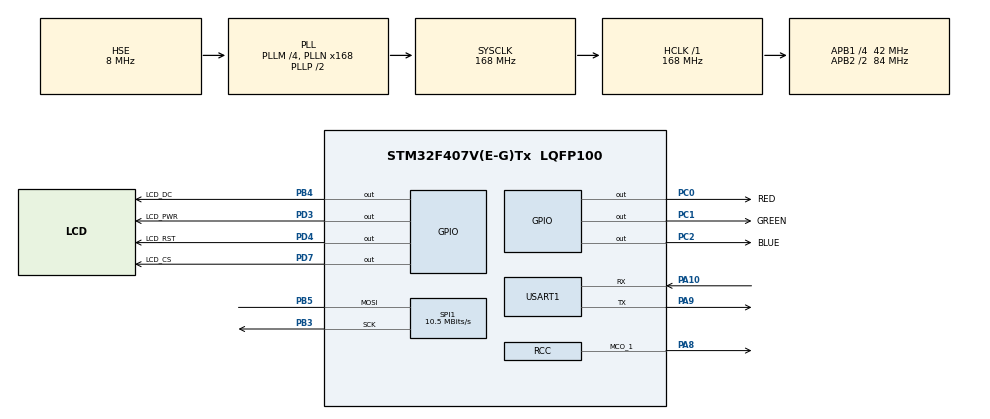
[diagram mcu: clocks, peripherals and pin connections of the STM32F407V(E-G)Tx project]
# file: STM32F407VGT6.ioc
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Mcu.Family=STM32F4
Mcu.Name=STM32F407V(E-G)Tx
Mcu.Package=LQFP100
NVIC.PriorityGroup=NVIC_PRIORITYGROUP_4
NVIC.USART1_IRQn=true\:0\:0\:false\:false\:true\:true\:true\:true
PA10.Mode=Asynchronous
PA10.Signal=USART1_RX
PA11.Signal=USB_OTG_FS_DM
PA12.Signal=USB_OTG_FS_DP
PA13.Mode=Serial_Wire
PA13.Signal=SYS_JTMS-SWDIO
PA14.Mode=Serial_Wire
PA14.Signal=SYS_JTCK-SWCLK
PA4.Signal=DCMI_HSYNC
PA6.Signal=DCMI_PIXCLK
PA8.Mode=Clock-out-1
PA8.Signal=RCC_MCO_1
PA9.Mode=Asynchronous
PA9.Signal=USART1_TX
PB10.Signal=SPI2_SCK
PB12.Signal=SPI2_NSS
PB14.Signal=SPI2_MISO
PB15.Signal=SPI2_MOSI
PB3.GPIO_PuPd=GPIO_PULLUP
PB3.Mode=Simplex_Bidirectional_Master
PB3.Signal=SPI1_SCK
PB4.GPIO_Label=LCD_DC
PB4.GPIO_PuPd=GPIO_PULLUP
PB4.Signal=GPIO_Output
PB5.GPIO_PuPd=GPIO_PULLUP
PB5.Mode=Simplex_Bidirectional_Master
PB5.Signal=SPI1_MOSI
PB6.Signal=DCMI_D5
PB7.Signal=DCMI_VSYNC
PB8.Signal=I2C1_SCL
PB9.Signal=I2C1_SDA
PC0.GPIO_Label=RED
PC0.GPIO_PuPd=GPIO_PULLUP
PC0.PinState=GPIO_PIN_SET
PC0.Signal=GPIO_Output
PC1.GPIO_Label=GREEN
PC1.GPIO_PuPd=GPIO_PULLUP
PC1.PinState=GPIO_PIN_SET
PC1.Signal=GPIO_Output
PC10.Signal=SDIO_D2
PC11.Signal=SDIO_D3
PC12.Signal=SDIO_CK
PC2.GPIO_Label=BLUE
PC2.GPIO_PuPd=GPIO_PULLUP
PC2.PinState=GPIO_PIN_SET
PC2.Signal=GPIO_Output
PC6.Signal=DCMI_D0
PC7.Signal=DCMI_D1
PC8.Signal=SDIO_D0
PC9.Signal=SDIO_D1
PD2.Signal=SDIO_CMD
PD3.GPIO_Label=LCD_PWR
PD3.GPIO_PuPd=GPIO_PULLUP
PD3.Signal=GPIO_Output
PD4.GPIO_Label=LCD_RST
PD4.GPIO_PuPd=GPIO_PULLUP
PD4.Signal=GPIO_Output
PD7.GPIO_Label=LCD_CS
PD7.GPIO_PuPd=GPIO_PULLUP
PD7.Signal=GPIO_Output
PE0.Signal=DCMI_D2
PE1.Signal=DCMI_D3
PE4.Signal=DCMI_D4
PE5.Signal=DCMI_D6
PE6.Signal=DCMI_D7
PH0-OSC_IN.Mode=HSE-External-Oscillator
PH0-OSC_IN.Signal=RCC_OSC_IN
PH1-OSC_OUT.Mode=HSE-External-Oscillator
PH1-OSC_OUT.Signal=RCC_OSC_OUT
ProjectManager.HeapSize=0x800
ProjectManager.StackSize=0x800
ProjectManager.TargetToolchain=MDK-ARM V5.32
RCC.48MHZClocksFreq_Value=84000000
RCC.AHBFreq_Value=168000000
RCC.APB1CLKDivider=RCC_HCLK_DIV4
RCC.APB1Freq_Value=42000000
RCC.APB1TimFreq_Value=84000000
RCC.APB2CLKDivider=RCC_HCLK_DIV2
RCC.APB2Freq_Value=84000000
RCC.APB2TimFreq_Value=168000000
RCC.CortexFreq_Value=168000000
RCC.HCLKFreq_Value=168000000
RCC.HSE_VALUE=8000000
RCC.HSI_VALUE=16000000
RCC.LSE_VALUE=32768
RCC.PLLM=4
RCC.PLLN=168
RCC.PLLSourceVirtual=RCC_PLLSOURCE_HSE
RCC.SYSCLKFreq_VALUE=168000000
RCC.SYSCLKSource=RCC_SYSCLKSOURCE_PLLCLK
RCC.VCOOutputFreq_Value=336000000
SPI1.BaudRatePrescaler=SPI_BAUDRATEPRESCALER_8
SPI1.CLKPhase=SPI_PHASE_2EDGE
SPI1.CLKPolarity=SPI_POLARITY_HIGH
SPI1.CalculateBaudRate=10.5 MBits/s
SPI1.Direction=SPI_DIRECTION_1LINE
SPI1.Mode=SPI_MODE_MASTER
SPI1.VirtualType=VM_MASTER
USART1.VirtualMode=VM_ASYNC
board=custom

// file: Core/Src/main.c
/* USER CODE BEGIN Header */
/**
  ******************************************************************************
  * @file           : main.c
  * @brief          : Main program body
  ******************************************************************************
  * @attention
  *
  * <h2><center>&copy; Copyright (c) 2022 STMicroelectronics.
  * All rights reserved.</center></h2>
  *
  * This software component is licensed by ST under BSD 3-Clause license,
  * the "License"; You may not use this file except in compliance with the
  * License. You may obtain a copy of the License at:
  *                        opensource.org/licenses/BSD-3-Clause
  *
  ******************************************************************************
  */
/* USER CODE END Header */
#include "main.h"
#include "spi.h"
#include "usart.h"
#include "gpio.h"

/* USER CODE BEGIN Includes */
#include "lcd.h"
/* USER CODE END Includes */

void SystemClock_Config(void);

/* USER CODE BEGIN 0 */
static uint16_t line_buffer[320];

lcd_io lcd_io_desc = {
    .spi = &hspi1,
    .rst = {LCD_RST_GPIO_Port, LCD_RST_Pin, 0},
    .bl  = {LCD_PWR_GPIO_Port, LCD_PWR_Pin, 1},
    .cs  = {LCD_CS_GPIO_Port, LCD_CS_Pin, 0},
    .dc  = {LCD_DC_GPIO_Port,  LCD_DC_Pin,  0},
    .te  = { /* TE */ }
};

lcd lcd_desc = {
    .io = &lcd_io_desc,
    .line_buffer = line_buffer,
};
/* USER CODE END 0 */

int main(void)
{

  /* USER CODE BEGIN 1 */
  int count = 0;
  /* USER CODE END 1 */

  /* MCU Configuration--------------------------------------------------------*/

  /* Reset of all peripherals, Initializes the Flash interface and the Systick. */
  HAL_Init();

  /* Configure the system clock */
  SystemClock_Config();

  /* Initialize all configured peripherals */
  MX_GPIO_Init();
  MX_SPI1_Init();
  MX_USART1_UART_Init();
  /* USER CODE BEGIN 2 */
  lcd_init_dev(&lcd_desc, LCD_1_47_INCH, LCD_ROTATE_90);

	lcd_clear(&lcd_desc, BLACK);

  lcd_print(&lcd_desc, 0, 20, "> Boring_TECH");
  lcd_print(&lcd_desc, 0, 40, "> IPS LCD 1.47inch 320x172");
  lcd_print(&lcd_desc, 0, 60, "> STM32F407VGT6");
  lcd_print(&lcd_desc, 0, 80, "> 2024/4/1");
  /* USER CODE END 2 */

  /* Infinite loop */
  /* USER CODE BEGIN WHILE */
  while (1)
  {
		lcd_print(&lcd_desc, 0, 100, "> count:%d", count++);
		HAL_GPIO_TogglePin(RED_GPIO_Port,RED_Pin);
		HAL_GPIO_TogglePin(GREEN_GPIO_Port,GREEN_Pin);
		HAL_GPIO_TogglePin(BLUE_GPIO_Port,BLUE_Pin);
		HAL_Delay(500);
    /* USER CODE END WHILE */

  }
}

void SystemClock_Config(void)
{
  RCC_OscInitTypeDef RCC_OscInitStruct = {0};
  RCC_ClkInitTypeDef RCC_ClkInitStruct = {0};

  /** Configure the main internal regulator output voltage
  */
  __HAL_RCC_PWR_CLK_ENABLE();
  __HAL_PWR_VOLTAGESCALING_CONFIG(PWR_REGULATOR_VOLTAGE_SCALE1);

  /** Initializes the RCC Oscillators according to the specified parameters
  * in the RCC_OscInitTypeDef structure.
  */
  RCC_OscInitStruct.OscillatorType = RCC_OSCILLATORTYPE_HSI|RCC_OSCILLATORTYPE_HSE;
  RCC_OscInitStruct.HSEState = RCC_HSE_ON;
  RCC_OscInitStruct.HSIState = RCC_HSI_ON;
  RCC_OscInitStruct.HSICalibrationValue = RCC_HSICALIBRATION_DEFAULT;
  RCC_OscInitStruct.PLL.PLLState = RCC_PLL_ON;
  RCC_OscInitStruct.PLL.PLLSource = RCC_PLLSOURCE_HSE;
  RCC_OscInitStruct.PLL.PLLM = 4;
  RCC_OscInitStruct.PLL.PLLN = 168;
  RCC_OscInitStruct.PLL.PLLP = RCC_PLLP_DIV2;
  RCC_OscInitStruct.PLL.PLLQ = 4;
  if (HAL_RCC_OscConfig(&RCC_OscInitStruct) != HAL_OK)
  {
    Error_Handler();
  }

  /** Initializes the CPU, AHB and APB buses clocks
  */
  RCC_ClkInitStruct.ClockType = RCC_CLOCKTYPE_HCLK|RCC_CLOCKTYPE_SYSCLK
                              |RCC_CLOCKTYPE_PCLK1|RCC_CLOCKTYPE_PCLK2;
  RCC_ClkInitStruct.SYSCLKSource = RCC_SYSCLKSOURCE_PLLCLK;
  RCC_ClkInitStruct.AHBCLKDivider = RCC_SYSCLK_DIV1;
  RCC_ClkInitStruct.APB1CLKDivider = RCC_HCLK_DIV4;
  RCC_ClkInitStruct.APB2CLKDivider = RCC_HCLK_DIV2;

  if (HAL_RCC_ClockConfig(&RCC_ClkInitStruct, FLASH_LATENCY_5) != HAL_OK)
  {
    Error_Handler();
  }
  HAL_RCC_MCOConfig(RCC_MCO1, RCC_MCO1SOURCE_HSI, RCC_MCODIV_1);
}

void Error_Handler(void)
{
  __disable_irq();
  while (1)
  {
  }
}
